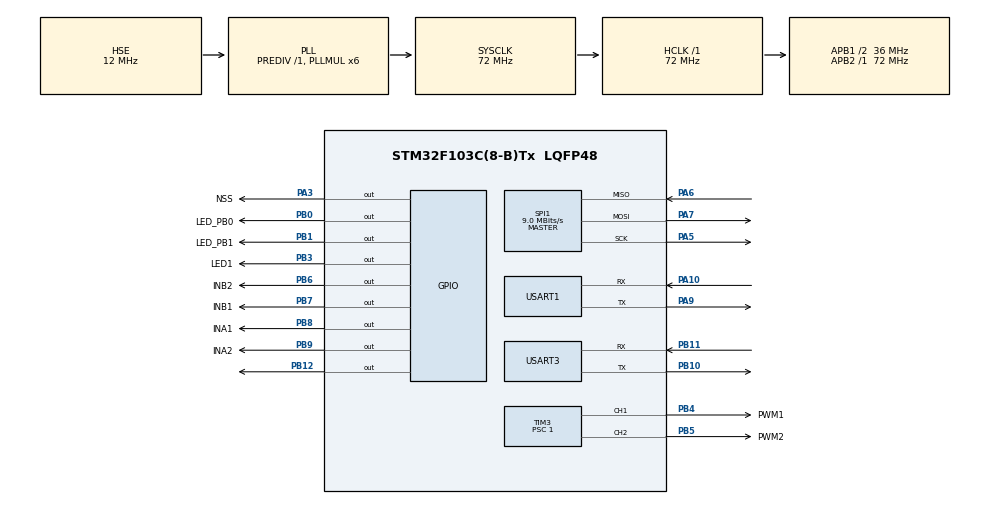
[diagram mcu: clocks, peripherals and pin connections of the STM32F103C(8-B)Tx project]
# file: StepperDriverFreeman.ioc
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Mcu.Family=STM32F1
Mcu.Name=STM32F103C(8-B)Tx
Mcu.Package=LQFP48
NVIC.PriorityGroup=NVIC_PRIORITYGROUP_1
NVIC.TIM1_UP_IRQn=true\:0\:1\:true\:false\:true\:true\:true\:true
NVIC.TIM2_IRQn=true\:0\:0\:true\:false\:true\:true\:true\:true
NVIC.USART1_IRQn=true\:1\:0\:true\:false\:true\:true\:false\:true
NVIC.USART3_IRQn=true\:0\:0\:true\:false\:true\:true\:false\:true
PA10.Mode=Asynchronous
PA10.Signal=USART1_RX
PA13.Mode=Serial_Wire
PA13.Signal=SYS_JTMS-SWDIO
PA14.Mode=Serial_Wire
PA14.Signal=SYS_JTCK-SWCLK
PA3.GPIO_Label=NSS
PA3.GPIO_Speed=GPIO_SPEED_FREQ_HIGH
PA3.PinState=GPIO_PIN_SET
PA3.Signal=GPIO_Output
PA5.Mode=Full_Duplex_Master
PA5.Signal=SPI1_SCK
PA6.Mode=Full_Duplex_Master
PA6.Signal=SPI1_MISO
PA7.Mode=Full_Duplex_Master
PA7.Signal=SPI1_MOSI
PA9.Mode=Asynchronous
PA9.Signal=USART1_TX
PB0.GPIO_Label=LED_PB0
PB0.GPIO_Speed=GPIO_SPEED_FREQ_MEDIUM
PB0.PinState=GPIO_PIN_RESET
PB0.Signal=GPIO_Output
PB1.GPIO_Label=LED_PB1
PB1.GPIO_Speed=GPIO_SPEED_FREQ_MEDIUM
PB1.Signal=GPIO_Output
PB10.Mode=Asynchronous
PB10.Signal=USART3_TX
PB11.Mode=Asynchronous
PB11.Signal=USART3_RX
PB12.GPIO_Speed=GPIO_SPEED_FREQ_HIGH
PB12.Signal=GPIO_Output
PB3.GPIO_Label=LED1
PB3.Signal=GPIO_Output
PB4.GPIO_Label=PWM1
PB4.Signal=S_TIM3_CH1
PB5.GPIO_Label=PWM2
PB5.Signal=S_TIM3_CH2
PB6.GPIO_Label=INB2
PB6.GPIO_Speed=GPIO_SPEED_FREQ_HIGH
PB6.Signal=GPIO_Output
PB7.GPIO_Label=INB1
PB7.GPIO_Speed=GPIO_SPEED_FREQ_HIGH
PB7.Signal=GPIO_Output
PB8.GPIO_Label=INA1
PB8.GPIO_ModeDefaultOutputPP=GPIO_MODE_OUTPUT_PP
PB8.GPIO_Speed=GPIO_SPEED_FREQ_HIGH
PB8.PinState=GPIO_PIN_RESET
PB8.Signal=GPIO_Output
PB9.GPIO_Label=INA2
PB9.GPIO_Speed=GPIO_SPEED_FREQ_HIGH
PB9.PinState=GPIO_PIN_RESET
PB9.Signal=GPIO_Output
PC14-OSC32_IN.Mode=LSE-External-Oscillator
PC14-OSC32_IN.Signal=RCC_OSC32_IN
PC15-OSC32_OUT.Mode=LSE-External-Oscillator
PC15-OSC32_OUT.Signal=RCC_OSC32_OUT
PD0-OSC_IN.Mode=HSE-External-Oscillator
PD0-OSC_IN.Signal=RCC_OSC_IN
PD1-OSC_OUT.Mode=HSE-External-Oscillator
PD1-OSC_OUT.Signal=RCC_OSC_OUT
ProjectManager.HeapSize=0x200
ProjectManager.StackSize=0x400
ProjectManager.TargetToolchain=STM32CubeIDE
RCC.AHBFreq_Value=72000000
RCC.APB1CLKDivider=RCC_HCLK_DIV2
RCC.APB1Freq_Value=36000000
RCC.APB1TimFreq_Value=72000000
RCC.APB2Freq_Value=72000000
RCC.APB2TimFreq_Value=72000000
RCC.HCLKFreq_Value=72000000
RCC.HSE_VALUE=12000000
RCC.PLLMUL=RCC_PLL_MUL6
RCC.PLLSourceVirtual=RCC_PLLSOURCE_HSE
RCC.SYSCLKFreq_VALUE=72000000
RCC.SYSCLKSource=RCC_SYSCLKSOURCE_PLLCLK
RCC.USBFreq_Value=72000000
SH.S_TIM3_CH1.0=TIM3_CH1,PWM Generation1 CH1
SH.S_TIM3_CH2.0=TIM3_CH2,PWM Generation2 CH2
SPI1.BaudRatePrescaler=SPI_BAUDRATEPRESCALER_8
SPI1.CLKPhase=SPI_PHASE_2EDGE
SPI1.CLKPolarity=SPI_POLARITY_HIGH
SPI1.CalculateBaudRate=9.0 MBits/s
SPI1.DataSize=SPI_DATASIZE_16BIT
SPI1.Direction=SPI_DIRECTION_2LINES
SPI1.Mode=SPI_MODE_MASTER
SPI1.VirtualType=VM_MASTER
TIM1.Period=100-1
TIM1.Prescaler=36-1
TIM2.Period=40-1
TIM2.Prescaler=18-1
TIM3.Channel-PWM\ Generation1\ CH1=TIM_CHANNEL_1
TIM3.Channel-PWM\ Generation2\ CH2=TIM_CHANNEL_2
TIM3.Period=100-1
TIM3.Prescaler=1
TIM3.Pulse-PWM\ Generation1\ CH1=50
TIM3.Pulse-PWM\ Generation2\ CH2=50
USART1.VirtualMode=VM_ASYNC
USART3.VirtualMode=VM_ASYNC
VP_TIM1_VS_ClockSourceINT.Mode=Internal
VP_TIM2_VS_ClockSourceINT.Mode=Internal
board=custom

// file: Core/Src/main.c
/* USER CODE BEGIN Header */
/**
  ******************************************************************************
  * @file           : main.c
  * @brief          : Main program body
  ******************************************************************************
  * @attention
  *
  * Copyright (c) 2022 STMicroelectronics.
  * All rights reserved.
  *
  * This software is licensed under terms that can be found in the LICENSE file
  * in the root directory of this software component.
  * If no LICENSE file comes with this software, it is provided AS-IS.
  *
  ******************************************************************************
  */
/* USER CODE END Header */
#include "main.h"
#include "spi.h"
#include "tim.h"
#include "usart.h"
#include "gpio.h"

/* USER CODE BEGIN Includes */
#include "PID.h"
#include "Variables.h"
#include "EncoderOperation.h"
#include "MotorOperation.h"
#include "UsDelay.h"
#include <stdio.h>

/* USER CODE END Includes */

void SystemClock_Config(void);

/* USER CODE BEGIN 0 */
// Freeman for SWO DEBUG
//int _write(int file , char *ptr, int len)
//{
//    int i = 0;
//    for(i = 0; i<len; i++)
//        ITM_SendChar((*ptr++));
//    return len;
//}

/* USER CODE END 0 */

int main(void)
{
  /* USER CODE BEGIN 1 */
  int32_t tempStepNumber = 0;

  uint16_t arrayARR[] = {8000,4000,2000,1000,500,25};
  uint8_t idxARR = 0;

  /* USER CODE END 1 */

  /* MCU Configuration--------------------------------------------------------*/

  /* Reset of all peripherals, Initializes the Flash interface and the Systick. */
  HAL_Init();

  /* Configure the system clock */
  SystemClock_Config();

  /* Initialize all configured peripherals */
  MX_GPIO_Init();
  MX_TIM3_Init();
  MX_TIM2_Init();
  MX_USART1_UART_Init();
  MX_USART3_UART_Init();
  MX_SPI1_Init();
  MX_TIM1_Init();
  /* USER CODE BEGIN 2 */

  /*-------------- Freeman Initialization Fcns ----------------*/
  // Enable channel & counter
  LL_TIM_CC_EnableChannel(TIM3, LL_TIM_CHANNEL_CH1);
  LL_TIM_CC_EnableChannel(TIM3, LL_TIM_CHANNEL_CH2);

  LL_TIM_EnableCounter(TIM3);

  // Freeman added in 20220630 Enable TIM1
  LL_TIM_EnableIT_UPDATE(TIM1);
  LL_TIM_EnableCounter(TIM1);

  // Enable TIM2
  LL_TIM_EnableIT_UPDATE(TIM2);
  LL_TIM_EnableCounter(TIM2);

  // Enable UART
  LL_USART_EnableIT_RXNE(USART1);
//  LL_USART_EnableIT_IDLE(USART1);
  LL_USART_EnableIT_RXNE(USART3);
//  LL_USART_EnableIT_IDLE(USART3);
  LL_USART_EnableIT_IDLE(USART3);

  // 485 communication control: RE#DE pin LOW: RECEIVE / HIGH: TRANSMIT
  LL_GPIO_ResetOutputPin(GPIOB, LL_GPIO_PIN_12);

  // SPI1 init
  LL_SPI_Enable(SPI1);

  /*========Encoder Calibration Routine =======*/
  if(parameterTuningEnable != 0){
	  if(CAL_calibrateEncoder == 1)
	    {
	  	  LL_TIM_DisableIT_UPDATE(TIM1);
	  	  LL_TIM_DisableCounter(TIM1);
	  	  LL_TIM_DisableIT_UPDATE(TIM2);
	  	  LL_TIM_DisableCounter(TIM2);

	  	  calibrateEncoder();

	  	  CAL_calibrateEncoder = 0;

	  	  LL_TIM_EnableIT_UPDATE(TIM1);
	  	  LL_TIM_EnableIT_UPDATE(TIM2);
	  	  LL_TIM_EnableCounter(TIM1);
	  	  LL_TIM_EnableCounter(TIM2);
	    }
  }

  /*========= EOF Calibration Routine =========*/

  /*========= PID Init ============*/
  if(parameterTuningEnable != 0){
	  initPID(&pidSpeed, recKp, recKi, recKd, recFilterEnableFlag, recFilterCoef, 10, 80);
	  initPID(&pidEffort, recKp, recKi, recKd, recFilterEnableFlag, recFilterCoef, -50, 50);
	  initPID(&pidPosition, recKp, recKi, recKd, recFilterEnableFlag, recFilterCoef, -50, 50);
  }else{
	  // For Manual Tuning in Cube IDE
	  initPID(&pidSpeed, 20, 20, 0, 0, 0, -100, 100);
	  initPID(&pidEffort, 1, 80, 0, 0, 0, -80, 80);
	  initPID(&pidPosition, 100, 200, 0, 0, 0, -100, 100);
  }

  /*========= EOF PID Init ============*/

  /*-------------- EOF Freeman Initialization Fcns ---------------*/
  moveMotor(0, 50);
  commandOut = 40;
  roundNumber = 0;
  filteredAngle = 0;
  fullAngle = 0;
  fullAngle_k_1 = 0;

  angularSpeedCmdRPM = 2000;	// RPM unit

  testARR = 8000;
  LL_TIM_SetAutoReload(TIM2, testARR);
  LL_TIM_EnableARRPreload(TIM2);
  /* USER CODE END 2 */

  /* Infinite loop */
  while (1)
  {

    /* USER CODE BEGIN 3 */
	  // 20kHz TIM1.... 1ms Interrupt to read encoder and calculate speed
	  if(counterTIM1_5k > 19)
	  {
		  counterTIM1_5k = 0;

		  deltaSpeedOutTicks = controlPID(&pidPosition, commandAngle, fullAngle);
		  if(deltaSpeedOutTicks > CAL_accelerationLmt) deltaSpeedOutTicks = CAL_accelerationLmt;
		  if(deltaSpeedOutTicks < -CAL_accelerationLmt) deltaSpeedOutTicks = -CAL_accelerationLmt;
		  speedOutTicks += deltaSpeedOutTicks;
		  speedOutRPM = ticks2rpm(speedOutTicks);
		  if(speedOutRPM > angularSpeedCmdRPM) speedOutRPM = angularSpeedCmdRPM;
		  if(speedOutRPM < -angularSpeedCmdRPM) speedOutRPM = -angularSpeedCmdRPM;

//		  // Convert to ticks per second
//		  angularSpeedTicks = deltaAngle * (HAL_RCC_GetSysClockFreq() / LL_TIM_GetPrescaler(TIM1) / LL_TIM_GetAutoReload(TIM1) / 4);
//		  // Convert to RPM
//		  angularSpeedRPM = ticks2rpm(angularSpeedTicks);
//
//		  deltaARR = controlPID(&pidSpeed, speedOutRPM, angularSpeedRPM);
//
//		  testARR -= deltaARR;
//		  if(deltaARR > 2000) deltaARR = 1000;
//		  if(deltaARR < -2000) deltaARR = -1000;
//
//		  if(testARR < arrayARR[5]) testARR = arrayARR[5];
//		  if(testARR > arrayARR[0]) testARR = arrayARR[0];

		  // Update history value

	  }

	  // 5k Interrupt to call speed regulation algorithm
	  if(counterTIM1_1k > 3)
	  {
		  counterTIM1_1k = 0;

		  filteredAngle = encoderFilter(5);

		  if(filteredAngle - filteredAngle_k_1 > 8192)	roundNumber --;
		  if(filteredAngle - filteredAngle_k_1 < -8192)	roundNumber ++;

		  fullAngle = 16384 * roundNumber + filteredAngle;

		  deltaAngle = fullAngle - fullAngle_k_1;
		  // Convert to ticks per second
		  angularSpeedTicks = deltaAngle * (HAL_RCC_GetSysClockFreq() / LL_TIM_GetPrescaler(TIM1) / LL_TIM_GetAutoReload(TIM1) / 4);
		  // Convert to RPM
		  angularSpeedRPM = ticks2rpm(angularSpeedTicks);

		  deltaARR = controlPID(&pidSpeed, speedOutRPM, angularSpeedRPM);

		  if(deltaARR > 2000) deltaARR = 2000;
		  if(deltaARR < -2000) deltaARR = -2000;

		  testARR -= deltaARR;

		  if(testARR < arrayARR[5]) testARR = arrayARR[5];
		  if(testARR > arrayARR[0]) testARR = arrayARR[0];

		  LL_TIM_SetAutoReload(TIM2, testARR);
		  LL_TIM_EnableARRPreload(TIM2);
//		  LL_TIM_DisableARRPreload(TIM2);

		  filteredAngle_k_1 = filteredAngle;
		  fullAngle_k_1 = fullAngle;
		  angularSpeedRPM_k_1 = angularSpeedRPM;

//		  flashAngle = * (volatile uint16_t*)((readAngle()>>2)*2 + 0x08008000);

		  if(parameterTuningEnable != 0){
			  commandAngle = recCommandAngle;
		  }else{
			  // Manual Control
			  commandAngle = commandAngle;
		  }

		  if(recStepSizeIdx == 0) CAL_stepSize = 81.92f;
		  if(recStepSizeIdx == 1) CAL_stepSize = 40.96f;
		  if(recStepSizeIdx == 2) CAL_stepSize = 10.24f;
		  if(recStepSizeIdx == 3) CAL_stepSize = 5.12f;
		  if(recStepSizeIdx == 4) CAL_stepSize = 2.56f;
	  }

	  // 10kHz
	  if(counterTIM2_5k > 0)	// 500Hz
	  {
		  counterTIM2_5k = 0;

//		  commandOut = controlPID(&pidEffort, commandAngle, fullAngle);

		  if(commandAngle - fullAngle > 0)
		  {
			  tempStepNumber --;
			  if(errorOut < 1)
			  {
				  speedOutRPM = 0;
				  moveMotor(5.12f * tempStepNumber, 0);
//				  tempStepNumber = 0;
			  }

		  }else{
			  tempStepNumber ++;
			  if(errorOut > -1)
			  {
				  speedOutRPM = 0;
				  moveMotor(5.12f * tempStepNumber, 0);
//				  tempStepNumber = 0;
			  }

		  }

		  moveMotor(5.12f * tempStepNumber, 40);
		  LL_GPIO_TogglePin(LED1_GPIO_Port, LED1_Pin);

//		  if(CAL_releaseMotor == 0){
//
//			  if(commandOut >= 0){
//				  tempStepNumber --;
////				  if(commandOut < 2) commandOut = 2;
//	//			  if(commandOut > 50) commandOut = 50;
//				  if(parameterTuningEnable != 0){
//					  moveMotor(CAL_stepSize * stepNumber, commandOut);
//				  }else{
//					  moveMotor(5.12f * stepNumber, commandOut);
//				  }
//				  LL_GPIO_SetOutputPin(LED1_GPIO_Port, LED1_Pin);
//			  }
//			  if(commandOut < 0){
//				  tempStepNumber ++;
////				  if(commandOut > -2) commandOut = -2;
//	//			  if(commandOut < -50) commandOut = -50;
//				  if(parameterTuningEnable != 0){
//					  moveMotor(CAL_stepSize * stepNumber, -commandOut);
//				  }else{
//					  moveMotor(5.12f * stepNumber, -commandOut);
//				  }
//				  LL_GPIO_ResetOutputPin(LED1_GPIO_Port, LED1_Pin);
//			  }
//		  }

		  // Unload ALL Control Effect, Let the Motor Free Running
		  if(CAL_releaseMotor != 0) moveMotor(0, 0);

	  }

	  // 2000 for 0.1 sec interrupt
	  if(counterTIM2_1k > 39999)
	  {
		  counterTIM2_1k = 0;
//		  testAngle = readAngle();
		  printf("======");
		  printf("Current ARR value is: %d\n", testARR);

//		  LL_GPIO_TogglePin(LED_PB0_GPIO_Port, LED_PB0_Pin);
//		  LL_GPIO_TogglePin(LED_PB1_GPIO_Port, LED_PB1_Pin);

//		  LL_TIM_EnableARRPreload(TIM2);
//		  LL_TIM_SetAutoReload(TIM2, testARR);
//		  LL_GPIO_TogglePin(LED1_GPIO_Port, LED1_Pin);

		  LL_GPIO_SetOutputPin(GPIOB, LL_GPIO_PIN_12);
		  while(!LL_GPIO_IsOutputPinSet(GPIOB, LL_GPIO_PIN_12));

		  while(!LL_USART_IsActiveFlag_TXE(USART3));
		  LL_USART_TransmitData8(USART3, 0x07);
		  //uDelay(100);
		  while(!LL_USART_IsActiveFlag_TXE(USART3));
		  LL_USART_TransmitData8(USART3, 0x06);
		  while(!LL_USART_IsActiveFlag_TXE(USART3));
		  LL_USART_TransmitData8(USART3, 0x06);

		  // Data 1
		  for(int8_t i=3; i>=0; i--){
			  while(!LL_USART_IsActiveFlag_TXE(USART3));
			  LL_USART_TransmitData8(USART3, (fullAngle >> (i * 8)) & 0xFF);
		  }

		  // Data 2
		  for(int8_t j=3; j>-1; --j){
			  while(!LL_USART_IsActiveFlag_TXE(USART3));
			  LL_USART_TransmitData8(USART3, (commandOut >> (j * 8)) & 0xFF);
		  }

		  // Data 3
		  for(int8_t k=3; k>-1; --k){
			  while(!LL_USART_IsActiveFlag_TXE(USART3));
			  LL_USART_TransmitData8(USART3, (errorOut >> (k * 8)) & 0xFF);
		  }

		  while(!LL_USART_IsActiveFlag_TXE(USART3));
		  // Extra byte NEEDED to protect data integrity
		  LL_USART_TransmitData8(USART3, 0x09);
		  while(!LL_USART_IsActiveFlag_TXE(USART3));

		  // Pull DOWN to wait for receiving
		  LL_GPIO_ResetOutputPin(GPIOB, LL_GPIO_PIN_12);
	  }

  }
  /* USER CODE END 3 */
}

void SystemClock_Config(void)
{
  RCC_OscInitTypeDef RCC_OscInitStruct = {0};
  RCC_ClkInitTypeDef RCC_ClkInitStruct = {0};

  /** Initializes the RCC Oscillators according to the specified parameters
  * in the RCC_OscInitTypeDef structure.
  */
  RCC_OscInitStruct.OscillatorType = RCC_OSCILLATORTYPE_HSE;
  RCC_OscInitStruct.HSEState = RCC_HSE_ON;
  RCC_OscInitStruct.HSEPredivValue = RCC_HSE_PREDIV_DIV1;
  RCC_OscInitStruct.HSIState = RCC_HSI_ON;
  RCC_OscInitStruct.PLL.PLLState = RCC_PLL_ON;
  RCC_OscInitStruct.PLL.PLLSource = RCC_PLLSOURCE_HSE;
  RCC_OscInitStruct.PLL.PLLMUL = RCC_PLL_MUL6;
  if (HAL_RCC_OscConfig(&RCC_OscInitStruct) != HAL_OK)
  {
    Error_Handler();
  }

  /** Initializes the CPU, AHB and APB buses clocks
  */
  RCC_ClkInitStruct.ClockType = RCC_CLOCKTYPE_HCLK|RCC_CLOCKTYPE_SYSCLK
                              |RCC_CLOCKTYPE_PCLK1|RCC_CLOCKTYPE_PCLK2;
  RCC_ClkInitStruct.SYSCLKSource = RCC_SYSCLKSOURCE_PLLCLK;
  RCC_ClkInitStruct.AHBCLKDivider = RCC_SYSCLK_DIV1;
  RCC_ClkInitStruct.APB1CLKDivider = RCC_HCLK_DIV2;
  RCC_ClkInitStruct.APB2CLKDivider = RCC_HCLK_DIV1;

  if (HAL_RCC_ClockConfig(&RCC_ClkInitStruct, FLASH_LATENCY_2) != HAL_OK)
  {
    Error_Handler();
  }
}

void Error_Handler(void)
{
  __disable_irq();
  while (1)
  {
  }
}
